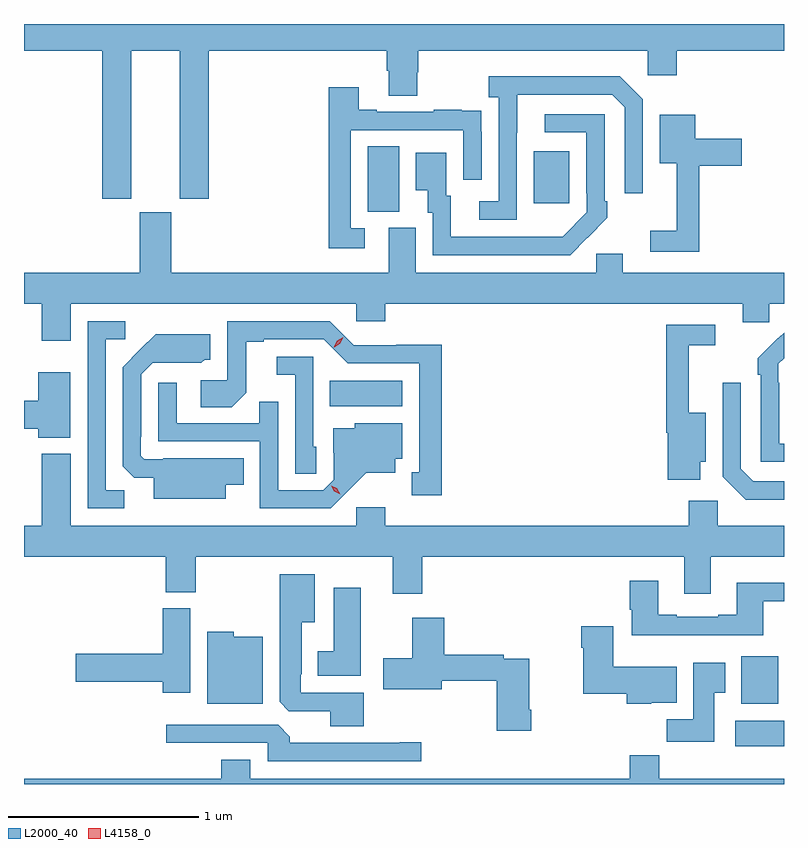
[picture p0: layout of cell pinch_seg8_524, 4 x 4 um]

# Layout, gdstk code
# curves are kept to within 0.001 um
import gdstk
lib = gdstk.Library(unit=1e-6, precision=1e-09)
def R(c, l, rs):  # rectangles x0, y0, x1, y1
    for r in rs: c.add(gdstk.rectangle(r[:2], r[2:], *l))
def P(c, l, *ps):  # polygons
    for p in ps: c.add(gdstk.Polygon(p, *l))
L2000_40 = (2000, 40)
L4158_0 = (4158, 0)

pinch_seg8_524 = lib.new_cell('pinch_seg8_524')
R(pinch_seg8_524, L2000_40, [(157.041,1110.176,157.298,1110.31), (157.073,1110.398,157.269,1110.649), (154.906,1111.964,155.29,1112.098), (155.108,1112.989,155.272,1113.332), (155.981,1113.033,156.169,1113.307)])
P(pinch_seg8_524, L2000_40, [(153.862,1113.836),(154.118,1113.836),(154.118,1113.057),(154.271,1113.057),(154.271,1113.836),(155.207,1113.836),(155.207,1113.73),(155.219,1113.73),(155.219,1113.598),(155.367,1113.598),(155.367,1113.723),(155.372,1113.723),(155.372,1113.836),(156.582,1113.836),(156.582,1113.705),(156.734,1113.705),(156.734,1113.836),(157.298,1113.836),(157.298,1113.976),(153.298,1113.976),(153.298,1113.836),(153.71,1113.836),(153.71,1113.057),(153.862,1113.057)],
  [(155.892,1113.403),(155.893,1113.603),(156.393,1113.603),(156.459,1113.537),(156.459,1113.084),(156.555,1113.084),(156.555,1113.579),(156.434,1113.7),(155.745,1113.7),(155.745,1113.59),(155.796,1113.59),(155.796,1113.042),(155.694,1113.042),(155.694,1112.946),(155.892,1112.946)],
  [(155.092,1112.901),(155.019,1112.901),(155.019,1113.417),(155.61,1113.417),(155.61,1113.156),(155.706,1113.156),(155.706,1113.41),(155.705,1113.41),(155.705,1113.519),(155.603,1113.519),(155.603,1113.526),(155.455,1113.526),(155.455,1113.513),(155.155,1113.513),(155.155,1113.526),(155.059,1113.526),(155.059,1113.643),(154.903,1113.643),(154.903,1112.796),(155.092,1112.796)],
  [(156.263,1112.851),(156.264,1112.85),(156.369,1112.955),(156.369,1113.043),(156.354,1113.043),(156.354,1113.501),(156.039,1113.501),(156.039,1113.405),(156.258,1113.405),(156.258,1113.085),(156.261,1113.085),(156.261,1112.985),(156.133,1112.857),(155.545,1112.856),(155.545,1113.072),(155.521,1113.072),(155.521,1113.298),(155.36,1113.298),(155.36,1113.101),(155.423,1113.101),(155.423,1112.982),(155.448,1112.982),(155.448,1112.76),(156.172,1112.76)],
  [(156.851,1113.23),(157.075,1113.23),(157.075,1113.372),(156.832,1113.372),(156.832,1113.499),(156.644,1113.499),(156.644,1113.242),(156.734,1113.242),(156.734,1112.887),(156.594,1112.887),(156.594,1112.778),(156.851,1112.778)],
  [(153.544,1112.504),(155.046,1112.504),(155.046,1112.411),(155.198,1112.411),(155.198,1112.504),(157.082,1112.504),(157.082,1112.406),(157.221,1112.406),(157.221,1112.504),(157.298,1112.504),(157.298,1112.668),(156.448,1112.668),(156.448,1112.766),(156.309,1112.766),(156.309,1112.668),(155.359,1112.668),(155.359,1112.904),(155.219,1112.904),(155.219,1112.668),(154.072,1112.668),(154.072,1112.985),(153.908,1112.985),(153.908,1112.668),(153.298,1112.668),(153.298,1112.504),(153.392,1112.504),(153.392,1112.31),(153.544,1112.31)],
  [(155.497,1112.288),(155.256,1112.288),(155.256,1112.286),(155.034,1112.286),(154.908,1112.412),(154.368,1112.412),(154.368,1112.1),(154.227,1112.1),(154.227,1111.96),(154.391,1111.96),(154.467,1112.036),(154.467,1112.304),(154.561,1112.304),(154.561,1112.316),(154.875,1112.316),(155.001,1112.19),(155.378,1112.19),(155.378,1111.617),(155.339,1111.617),(155.339,1111.497),(155.497,1111.497)],
  [(153.825,1111.523),(153.729,1111.523),(153.729,1112.316),(153.832,1112.316),(153.832,1112.412),(153.633,1112.412),(153.633,1111.428),(153.825,1111.428)],
  [(156.856,1111.673),(156.886,1111.673),(156.886,1111.93),(156.797,1111.93),(156.797,1112.286),(156.937,1112.286),(156.937,1112.394),(156.679,1112.394),(156.679,1111.826),(156.686,1111.826),(156.686,1111.578),(156.856,1111.578)],
  [(157.298,1111.767),(157.272,1111.767),(157.272,1112.087),(157.269,1112.087),(157.269,1112.187),(157.298,1112.216),(157.298,1112.352),(157.267,1112.321),(157.266,1112.322),(157.161,1112.217),(157.161,1112.129),(157.176,1112.129),(157.176,1111.671),(157.298,1111.671)],
  [(154.36,1111.55),(154.454,1111.55),(154.454,1111.69),(154.03,1111.69),(154.03,1111.686),(153.93,1111.686),(153.912,1111.704),(153.912,1111.804),(153.915,1111.804),(153.915,1112.133),(153.975,1112.193),(154.232,1112.192),(154.248,1112.208),(154.279,1112.208),(154.279,1112.344),(153.991,1112.344),(153.819,1112.17),(153.819,1111.648),(153.878,1111.589),(153.98,1111.589),(153.98,1111.478),(154.36,1111.478)],
  [(154.836,1111.752),(154.821,1111.752),(154.821,1112.226),(154.629,1112.226),(154.629,1112.129),(154.725,1112.129),(154.725,1111.609),(154.836,1111.609)],
  [(153.541,1112.143),(153.374,1112.143),(153.374,1111.994),(153.298,1111.994),(153.298,1111.847),(153.374,1111.847),(153.374,1111.799),(153.541,1111.799)],
  [(154.996,1111.511),(155.099,1111.613),(155.251,1111.613),(155.251,1111.689),(155.29,1111.689),(155.29,1111.876),(155.04,1111.876),(155.04,1111.849),(154.925,1111.849),(154.925,1111.72),(154.929,1111.72),(154.929,1111.578),(154.872,1111.521),(154.635,1111.521),(154.635,1111.988),(154.537,1111.988),(154.537,1111.875),(154.101,1111.875),(154.101,1112.089),(154.005,1112.089),(154.005,1111.779),(154.539,1111.779),(154.539,1111.428),(154.912,1111.428)],
  [(157.298,1111.569),(157.137,1111.569),(157.071,1111.635),(157.071,1112.089),(156.975,1112.089),(156.975,1111.593),(157.096,1111.472),(157.298,1111.472)],
  [(155.393,1111.172),(156.773,1111.172),(156.773,1110.978),(156.913,1110.978),(156.913,1111.172),(157.298,1111.172),(157.298,1111.336),(156.948,1111.336),(156.948,1111.468),(156.797,1111.468),(156.797,1111.336),(155.198,1111.336),(155.198,1111.432),(155.046,1111.432),(155.046,1111.336),(153.544,1111.336),(153.544,1111.714),(153.392,1111.714),(153.392,1111.336),(153.298,1111.336),(153.298,1111.172),(154.043,1111.172),(154.043,1110.985),(154.203,1110.985),(154.203,1111.172),(155.24,1111.172),(155.24,1110.978),(155.393,1110.978)],
  [(155.086,1110.456),(154.755,1110.456),(154.755,1110.553),(154.759,1110.553),(154.759,1110.827),(154.828,1110.827),(154.828,1111.081),(154.643,1111.081),(154.643,1110.409),(154.692,1110.36),(154.91,1110.36),(154.91,1110.281),(155.086,1110.281)],
  [(157.189,1110.939),(157.298,1110.939),(157.298,1111.036),(157.049,1111.036),(157.049,1110.868),(156.953,1110.868),(156.953,1110.855),(156.733,1110.855),(156.733,1110.868),(156.637,1110.868),(156.637,1111.045),(156.485,1111.045),(156.485,1110.892),(156.497,1110.892),(156.497,1110.758),(157.189,1110.758)],
  [(155.071,1111.009),(154.928,1111.009),(154.928,1110.676),(154.844,1110.676),(154.844,1110.545),(155.071,1110.545)],
  [(154.174,1110.9),(154.028,1110.9),(154.028,1110.662),(153.57,1110.662),(153.57,1110.515),(154.028,1110.515),(154.028,1110.456),(154.174,1110.456)],
  [(155.969,1110.367),(155.956,1110.367),(155.956,1110.636),(155.822,1110.636),(155.822,1110.656),(155.51,1110.656),(155.51,1110.85),(155.342,1110.85),(155.342,1110.639),(155.19,1110.639),(155.19,1110.476),(155.497,1110.476),(155.497,1110.52),(155.786,1110.52),(155.786,1110.255),(155.969,1110.255)],
  [(156.6,1110.404),(156.733,1110.404),(156.733,1110.592),(156.4,1110.592),(156.4,1110.805),(156.23,1110.805),(156.23,1110.692),(156.242,1110.692),(156.242,1110.452),(156.47,1110.452),(156.47,1110.398),(156.6,1110.398)],
  [(154.555,1110.751),(154.401,1110.751),(154.401,1110.778),(154.262,1110.778),(154.262,1110.398),(154.555,1110.398)],
  [(156.931,1110.457),(156.988,1110.457),(156.988,1110.613),(156.821,1110.613),(156.821,1110.316),(156.682,1110.316),(156.682,1110.198),(156.931,1110.198)],
  [(155.389,1110.197),(155.276,1110.197),(155.276,1110.192),(154.697,1110.192),(154.697,1110.226),(154.635,1110.288),(154.047,1110.288),(154.047,1110.192),(154.581,1110.192),(154.581,1110.096),(155.389,1110.096)],
  [(157.298,1110.004),(156.641,1110.004),(156.641,1110.128),(156.485,1110.128),(156.485,1110.004),(154.489,1110.004),(154.489,1110.103),(154.337,1110.103),(154.337,1110.004),(153.298,1110.004),(153.298,1109.976),(157.298,1109.976)])
P(pinch_seg8_524, L4158_0, [(154.929,1112.275),(154.929,1112.275),(154.946,1112.308),(154.978,1112.327),(154.978,1112.327),(154.978,1112.327),(154.961,1112.294),(154.93,1112.275)],
  [(154.962,1111.502),(154.931,1111.517),(154.914,1111.546),(154.914,1111.547),(154.914,1111.547),(154.945,1111.532),(154.962,1111.502),(154.962,1111.502)])

lib.write_gds('pinch_seg8_524.gds')
